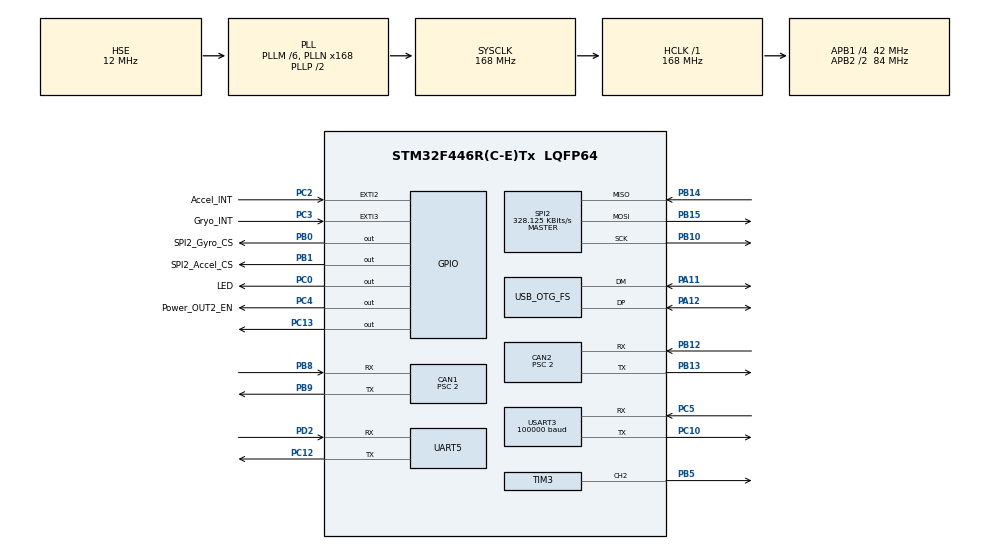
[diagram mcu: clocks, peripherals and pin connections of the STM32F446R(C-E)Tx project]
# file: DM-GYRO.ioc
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CAN1.BS1=CAN_BS1_15TQ
CAN1.BS2=CAN_BS2_5TQ
CAN1.CalculateBaudRate=1000000
CAN1.CalculateTimeBit=1000
CAN1.CalculateTimeQuantum=47.61904761904762
CAN1.Prescaler=2
CAN2.BS1=CAN_BS1_15TQ
CAN2.BS2=CAN_BS2_5TQ
CAN2.CalculateBaudRate=1000000
CAN2.CalculateTimeBit=1000
CAN2.CalculateTimeQuantum=47.61904761904762
CAN2.Prescaler=2
Dma.Request0=SPI2_RX
Dma.Request1=SPI2_TX
Dma.Request2=USART3_RX
Dma.Request3=UART5_RX
Dma.Request4=UART5_TX
Dma.SPI2_RX.0.Direction=DMA_PERIPH_TO_MEMORY
Dma.SPI2_RX.0.FIFOMode=DMA_FIFOMODE_DISABLE
Dma.SPI2_RX.0.Instance=DMA1_Stream3
Dma.SPI2_RX.0.MemDataAlignment=DMA_MDATAALIGN_BYTE
Dma.SPI2_RX.0.MemInc=DMA_MINC_ENABLE
Dma.SPI2_RX.0.Mode=DMA_NORMAL
Dma.SPI2_RX.0.PeriphDataAlignment=DMA_PDATAALIGN_BYTE
Dma.SPI2_RX.0.PeriphInc=DMA_PINC_DISABLE
Dma.SPI2_RX.0.Priority=DMA_PRIORITY_VERY_HIGH
Dma.SPI2_TX.1.Direction=DMA_MEMORY_TO_PERIPH
Dma.SPI2_TX.1.FIFOMode=DMA_FIFOMODE_DISABLE
Dma.SPI2_TX.1.Instance=DMA1_Stream4
Dma.SPI2_TX.1.MemDataAlignment=DMA_MDATAALIGN_BYTE
Dma.SPI2_TX.1.MemInc=DMA_MINC_ENABLE
Dma.SPI2_TX.1.Mode=DMA_NORMAL
Dma.SPI2_TX.1.PeriphDataAlignment=DMA_PDATAALIGN_BYTE
Dma.SPI2_TX.1.PeriphInc=DMA_PINC_DISABLE
Dma.SPI2_TX.1.Priority=DMA_PRIORITY_HIGH
Dma.UART5_RX.3.Direction=DMA_PERIPH_TO_MEMORY
Dma.UART5_RX.3.FIFOMode=DMA_FIFOMODE_DISABLE
Dma.UART5_RX.3.Instance=DMA1_Stream0
Dma.UART5_RX.3.MemDataAlignment=DMA_MDATAALIGN_BYTE
Dma.UART5_RX.3.MemInc=DMA_MINC_ENABLE
Dma.UART5_RX.3.Mode=DMA_NORMAL
Dma.UART5_RX.3.PeriphDataAlignment=DMA_PDATAALIGN_BYTE
Dma.UART5_RX.3.PeriphInc=DMA_PINC_DISABLE
Dma.UART5_RX.3.Priority=DMA_PRIORITY_VERY_HIGH
Dma.UART5_TX.4.Direction=DMA_MEMORY_TO_PERIPH
Dma.UART5_TX.4.FIFOMode=DMA_FIFOMODE_DISABLE
Dma.UART5_TX.4.Instance=DMA1_Stream7
Dma.UART5_TX.4.MemDataAlignment=DMA_MDATAALIGN_BYTE
Dma.UART5_TX.4.MemInc=DMA_MINC_ENABLE
Dma.UART5_TX.4.Mode=DMA_NORMAL
Dma.UART5_TX.4.PeriphDataAlignment=DMA_PDATAALIGN_BYTE
Dma.UART5_TX.4.PeriphInc=DMA_PINC_DISABLE
Dma.UART5_TX.4.Priority=DMA_PRIORITY_HIGH
Dma.USART3_RX.2.Direction=DMA_PERIPH_TO_MEMORY
Dma.USART3_RX.2.FIFOMode=DMA_FIFOMODE_DISABLE
Dma.USART3_RX.2.Instance=DMA1_Stream1
Dma.USART3_RX.2.MemDataAlignment=DMA_MDATAALIGN_BYTE
Dma.USART3_RX.2.MemInc=DMA_MINC_ENABLE
Dma.USART3_RX.2.Mode=DMA_NORMAL
Dma.USART3_RX.2.PeriphDataAlignment=DMA_PDATAALIGN_BYTE
Dma.USART3_RX.2.PeriphInc=DMA_PINC_DISABLE
Dma.USART3_RX.2.Priority=DMA_PRIORITY_VERY_HIGH
FREERTOS.INCLUDE_xTaskGetHandle=1
FREERTOS.Tasks01=TEMP_IMU,0,512,imu_temp_control_task,As weak,NULL,Dynamic,NULL,NULL
Mcu.Family=STM32F4
Mcu.Name=STM32F446R(C-E)Tx
Mcu.Package=LQFP64
NVIC.CAN1_RX0_IRQn=true\:5\:0\:false\:false\:true\:true\:true\:true\:true
NVIC.CAN2_RX0_IRQn=true\:5\:0\:false\:false\:true\:true\:true\:true\:true
NVIC.CAN2_RX1_IRQn=true\:5\:0\:false\:false\:true\:true\:true\:true\:true
NVIC.DMA1_Stream0_IRQn=true\:5\:0\:false\:true\:true\:2\:true\:false\:true\:true
NVIC.DMA1_Stream1_IRQn=true\:5\:0\:false\:false\:true\:true\:false\:true\:true
NVIC.DMA1_Stream3_IRQn=true\:5\:0\:false\:false\:true\:false\:false\:true\:true
NVIC.DMA1_Stream4_IRQn=true\:5\:0\:false\:false\:true\:false\:false\:true\:true
NVIC.DMA1_Stream7_IRQn=true\:5\:0\:false\:true\:true\:1\:true\:false\:true\:true
NVIC.OTG_FS_IRQn=true\:5\:0\:false\:false\:true\:false\:false\:true\:true
NVIC.PriorityGroup=NVIC_PRIORITYGROUP_4
NVIC.TIM2_IRQn=true\:15\:0\:false\:false\:true\:false\:false\:true\:true
NVIC.TimeBase=TIM2_IRQn
NVIC.TimeBaseIP=TIM2
NVIC.UART5_IRQn=true\:5\:0\:false\:true\:true\:5\:true\:true\:true\:true
NVIC.USART3_IRQn=true\:5\:0\:false\:true\:true\:4\:true\:true\:true\:true
PA11.Mode=Device_Only
PA11.Signal=USB_OTG_FS_DM
PA12.Mode=Device_Only
PA12.Signal=USB_OTG_FS_DP
PA13.Mode=Serial_Wire
PA13.Signal=SYS_JTMS-SWDIO
PA14.Mode=Serial_Wire
PA14.Signal=SYS_JTCK-SWCLK
PB0.GPIO_Label=SPI2_Gyro_CS
PB0.Signal=GPIO_Output
PB1.GPIO_Label=SPI2_Accel_CS
PB1.Signal=GPIO_Output
PB10.Mode=Full_Duplex_Master
PB10.Signal=SPI2_SCK
PB12.Mode=CAN_Activate
PB12.Signal=CAN2_RX
PB13.Mode=CAN_Activate
PB13.Signal=CAN2_TX
PB14.Mode=Full_Duplex_Master
PB14.Signal=SPI2_MISO
PB15.Mode=Full_Duplex_Master
PB15.Signal=SPI2_MOSI
PB5.GPIO_PuPd=GPIO_NOPULL
PB5.GPIO_Speed=GPIO_SPEED_FREQ_LOW
PB5.Signal=S_TIM3_CH2
PB8.Mode=CAN_Activate
PB8.Signal=CAN1_RX
PB9.Mode=CAN_Activate
PB9.Signal=CAN1_TX
PC0.GPIO_Label=LED
PC0.GPIO_ModeDefaultOutputPP=GPIO_MODE_OUTPUT_PP
PC0.GPIO_PuPd=GPIO_NOPULL
PC0.GPIO_Speed=GPIO_SPEED_FREQ_LOW
PC0.PinState=GPIO_PIN_RESET
PC0.Signal=GPIO_Output
PC10.Mode=Asynchronous
PC10.Signal=USART3_TX
PC12.Mode=Asynchronous
PC12.Signal=UART5_TX
PC13.Signal=GPIO_Output
PC2.GPIO_Label=Accel_INT
PC2.Signal=GPXTI2
PC3.GPIO_Label=Gryo_INT
PC3.GPIO_PuPd=GPIO_PULLUP
PC3.Signal=GPXTI3
PC4.GPIO_Label=Power_OUT2_EN
PC4.Signal=GPIO_Output
PC5.Mode=Asynchronous
PC5.Signal=USART3_RX
PD2.Mode=Asynchronous
PD2.Signal=UART5_RX
PH0-OSC_IN.Mode=HSE-External-Oscillator
PH0-OSC_IN.Signal=RCC_OSC_IN
PH1-OSC_OUT.Mode=HSE-External-Oscillator
PH1-OSC_OUT.Signal=RCC_OSC_OUT
ProjectManager.HeapSize=0x400
ProjectManager.StackSize=0x800
ProjectManager.TargetToolchain=MDK-ARM V5.32
RCC.AHBFreq_Value=168000000
RCC.APB1CLKDivider=RCC_HCLK_DIV4
RCC.APB1Freq_Value=42000000
RCC.APB1TimFreq_Value=84000000
RCC.APB2CLKDivider=RCC_HCLK_DIV2
RCC.APB2Freq_Value=84000000
RCC.APB2TimFreq_Value=168000000
RCC.CortexFreq_Value=168000000
RCC.HCLKFreq_Value=168000000
RCC.HSE_VALUE=12000000
RCC.PLLM=6
RCC.PLLN=168
RCC.PLLQ=7
RCC.PLLSAIM=6
RCC.PLLSAIN=96
RCC.PLLSAIP=RCC_PLLSAIP_DIV4
RCC.PLLSourceVirtual=RCC_PLLSOURCE_HSE
RCC.SYSCLKFreq_VALUE=168000000
RCC.SYSCLKSource=RCC_SYSCLKSOURCE_PLLCLK
RCC.USBFreq_Value=48000000
RCC.VCOOutputFreq_Value=336000000
SH.S_TIM3_CH2.0=TIM3_CH2,PWM Generation2 CH2
SPI2.BaudRatePrescaler=SPI_BAUDRATEPRESCALER_128
SPI2.CLKPhase=SPI_PHASE_2EDGE
SPI2.CLKPolarity=SPI_POLARITY_HIGH
SPI2.CalculateBaudRate=328.125 KBits/s
SPI2.Direction=SPI_DIRECTION_2LINES
SPI2.Mode=SPI_MODE_MASTER
SPI2.VirtualType=VM_MASTER
STMicroelectronics.X-CUBE-ALGOBUILD.1.3.0.LibraryCcDSPOoLibraryJjDSPOoLibrary=true
TIM3.Channel-PWM\ Generation2\ CH2=TIM_CHANNEL_2
TIM3.Period=4999
UART5.VirtualMode=Asynchronous
USART3.BaudRate=100000
USART3.VirtualMode=VM_ASYNC
USB_DEVICE.CLASS_NAME_FS=CDC
USB_DEVICE.VirtualMode-CDC_FS=Cdc
USB_DEVICE.VirtualModeFS=Cdc_FS
USB_OTG_FS.VirtualMode=Device_Only
VP_FREERTOS_VS_CMSIS_V1.Mode=CMSIS_V1
VP_STMicroelectronics.X-CUBE-ALGOBUILD_VS_DSPOoLibraryJjLibrary_1.3.0_1.3.0.Mode=DSPOoLibraryJjLibrary
VP_SYS_VS_tim2.Mode=TIM2
VP_USB_DEVICE_VS_USB_DEVICE_CDC_FS.Mode=CDC_FS
board=custom

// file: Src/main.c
/* USER CODE BEGIN Header */
/**
  ******************************************************************************
  * @file           : main.c
  * @brief          : Main program body
  ******************************************************************************
  * @attention
  *
  * Copyright (c) 2024 STMicroelectronics.
  * All rights reserved.
  *
  * This software is licensed under terms that can be found in the LICENSE file
  * in the root directory of this software component.
  * If no LICENSE file comes with this software, it is provided AS-IS.
  *
  ******************************************************************************
  */
/* USER CODE END Header */
#include "main.h"
#include "cmsis_os.h"
#include "can.h"
#include "dma.h"
#include "spi.h"
#include "tim.h"
#include "usart.h"
#include "usb_device.h"
#include "gpio.h"

/* USER CODE BEGIN Includes */
#include "bsp_dwt.h"
#include "drv_can.h"
#include "drv_usart.h"

/* USER CODE END Includes */

void SystemClock_Config(void);
void MX_FREERTOS_Init(void);
static void MX_NVIC_Init(void);

int main(void)
{

  /* MCU Configuration--------------------------------------------------------*/

  /* Reset of all peripherals, Initializes the Flash interface and the Systick. */
  HAL_Init();

  /* Configure the system clock */
  SystemClock_Config();

  /* Initialize all configured peripherals */
  MX_GPIO_Init();
  MX_DMA_Init();
  MX_SPI2_Init();
  MX_TIM3_Init();
  MX_CAN1_Init();
  MX_CAN2_Init();
  MX_USART3_UART_Init();
  MX_UART5_Init();

  /* Initialize interrupts */
  MX_NVIC_Init();
  /* USER CODE BEGIN 2 */
      UART5_Init();
      USART3_Init();
    CAN1_Init();
    CAN2_Init();
    HAL_TIM_PWM_Start(&htim3,TIM_CHANNEL_1);//ä˝żč˝TIM3ĺŽćśĺ¨PWMčžĺş
  DWT_Init(168);
      while(BMI088_init())
    {
        ;
    }
  /* USER CODE END 2 */

  /* Call init function for freertos objects (in cmsis_os2.c) */
  MX_FREERTOS_Init();

  /* Start scheduler */
  osKernelStart();

  /* We should never get here as control is now taken by the scheduler */

  /* Infinite loop */
  while (1)
  {

  }
}

void SystemClock_Config(void)
{
  RCC_OscInitTypeDef RCC_OscInitStruct = {0};
  RCC_ClkInitTypeDef RCC_ClkInitStruct = {0};

  /** Configure the main internal regulator output voltage
  */
  __HAL_RCC_PWR_CLK_ENABLE();
  __HAL_PWR_VOLTAGESCALING_CONFIG(PWR_REGULATOR_VOLTAGE_SCALE1);

  /** Initializes the RCC Oscillators according to the specified parameters
  * in the RCC_OscInitTypeDef structure.
  */
  RCC_OscInitStruct.OscillatorType = RCC_OSCILLATORTYPE_HSE;
  RCC_OscInitStruct.HSEState = RCC_HSE_ON;
  RCC_OscInitStruct.PLL.PLLState = RCC_PLL_ON;
  RCC_OscInitStruct.PLL.PLLSource = RCC_PLLSOURCE_HSE;
  RCC_OscInitStruct.PLL.PLLM = 6;
  RCC_OscInitStruct.PLL.PLLN = 168;
  RCC_OscInitStruct.PLL.PLLP = RCC_PLLP_DIV2;
  RCC_OscInitStruct.PLL.PLLQ = 7;
  RCC_OscInitStruct.PLL.PLLR = 2;
  if (HAL_RCC_OscConfig(&RCC_OscInitStruct) != HAL_OK)
  {
    Error_Handler();
  }

  /** Initializes the CPU, AHB and APB buses clocks
  */
  RCC_ClkInitStruct.ClockType = RCC_CLOCKTYPE_HCLK|RCC_CLOCKTYPE_SYSCLK
                              |RCC_CLOCKTYPE_PCLK1|RCC_CLOCKTYPE_PCLK2;
  RCC_ClkInitStruct.SYSCLKSource = RCC_SYSCLKSOURCE_PLLCLK;
  RCC_ClkInitStruct.AHBCLKDivider = RCC_SYSCLK_DIV1;
  RCC_ClkInitStruct.APB1CLKDivider = RCC_HCLK_DIV4;
  RCC_ClkInitStruct.APB2CLKDivider = RCC_HCLK_DIV2;

  if (HAL_RCC_ClockConfig(&RCC_ClkInitStruct, FLASH_LATENCY_5) != HAL_OK)
  {
    Error_Handler();
  }
}

/**
  * @brief NVIC Configuration.
  * @retval None
  */
static void MX_NVIC_Init(void)
{
  /* DMA1_Stream7_IRQn interrupt configuration */
  HAL_NVIC_SetPriority(DMA1_Stream7_IRQn, 5, 0);
  HAL_NVIC_EnableIRQ(DMA1_Stream7_IRQn);
  /* DMA1_Stream0_IRQn interrupt configuration */
  HAL_NVIC_SetPriority(DMA1_Stream0_IRQn, 5, 0);
  HAL_NVIC_EnableIRQ(DMA1_Stream0_IRQn);
  /* USART3_IRQn interrupt configuration */
  HAL_NVIC_SetPriority(USART3_IRQn, 5, 0);
  HAL_NVIC_EnableIRQ(USART3_IRQn);
  /* UART5_IRQn interrupt configuration */
  HAL_NVIC_SetPriority(UART5_IRQn, 5, 0);
  HAL_NVIC_EnableIRQ(UART5_IRQn);
}

void HAL_TIM_PeriodElapsedCallback(TIM_HandleTypeDef *htim)
{
  if (htim->Instance == TIM2) {
    HAL_IncTick();
  }
}

void Error_Handler(void)
{
  __disable_irq();
  while (1)
  {
  }
}

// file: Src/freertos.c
/* USER CODE BEGIN Header */
/**
  ******************************************************************************
  * File Name          : freertos.c
  * Description        : Code for freertos applications
  ******************************************************************************
  * @attention
  *
  * Copyright (c) 2024 STMicroelectronics.
  * All rights reserved.
  *
  * This software is licensed under terms that can be found in the LICENSE file
  * in the root directory of this software component.
  * If no LICENSE file comes with this software, it is provided AS-IS.
  *
  ******************************************************************************
  */
/* USER CODE END Header */

#include "FreeRTOS.h"
#include "task.h"
#include "main.h"
#include "cmsis_os.h"

/* USER CODE BEGIN Includes */
#include "Chassis_task.h"
#include "rc_potocal.h"
#include "stm32f4xx_it.h"
#include "UI_task.h"
/* USER CODE END Includes */

/* USER CODE BEGIN Variables */
osThreadId Chassis_taskHandle;
osThreadId UI_taskHandle;

/* USER CODE END Variables */
osThreadId TEMP_IMUHandle;

/* USER CODE BEGIN FunctionPrototypes */
osThreadId LEDHandle;
void led_task(void const * argument);
void StartUITASK(void const * argument);
/* USER CODE END FunctionPrototypes */

void imu_temp_control_task(void const * argument);

extern void MX_USB_DEVICE_Init(void);
void MX_FREERTOS_Init(void); /* (MISRA C 2004 rule 8.1) */

/* GetIdleTaskMemory prototype (linked to static allocation support) */
void vApplicationGetIdleTaskMemory( StaticTask_t **ppxIdleTaskTCBBuffer, StackType_t **ppxIdleTaskStackBuffer, uint32_t *pulIdleTaskStackSize );

/* USER CODE BEGIN GET_IDLE_TASK_MEMORY */
static StaticTask_t xIdleTaskTCBBuffer;
static StackType_t xIdleStack[configMINIMAL_STACK_SIZE];

void vApplicationGetIdleTaskMemory( StaticTask_t **ppxIdleTaskTCBBuffer, StackType_t **ppxIdleTaskStackBuffer, uint32_t *pulIdleTaskStackSize )
{
  *ppxIdleTaskTCBBuffer = &xIdleTaskTCBBuffer;
  *ppxIdleTaskStackBuffer = &xIdleStack[0];
  *pulIdleTaskStackSize = configMINIMAL_STACK_SIZE;
  /* place for user code */
}
/* USER CODE END GET_IDLE_TASK_MEMORY */

void MX_FREERTOS_Init(void) {

  /* Create the thread(s) */
  /* definition and creation of TEMP_IMU */
  osThreadDef(TEMP_IMU, imu_temp_control_task, osPriorityNormal, 0, 512);
  TEMP_IMUHandle = osThreadCreate(osThread(TEMP_IMU), NULL);

  /* USER CODE BEGIN RTOS_THREADS */
  /* add threads, ... */
       osThreadDef(Chassistask, Chassis_task, osPriorityRealtime, 0, 512); // �����ƶ�����
  Chassis_taskHandle = osThreadCreate(osThread(Chassistask), NULL);

	osThreadDef(LED, led_task, osPriorityNormal, 0, 128);
 LEDHandle      = osThreadCreate(osThread(LED), NULL);

   osThreadDef(UItask,StartUITASK , osPriorityRealtime, 0, 1024);
  UI_taskHandle = osThreadCreate(osThread(UItask), NULL);
  /* USER CODE END RTOS_THREADS */

}

__weak void imu_temp_control_task(void const * argument)
{
  /* init code for USB_DEVICE */
  MX_USB_DEVICE_Init();
  for(;;)
  {
    osDelay(1);
  }
}

/* USER CODE BEGIN Application */
void StartUITASK(void const * argument)
{
  /* USER CODE BEGIN StartUITASK */
  /* Infinite loop */
  for(;;)
  {
    osDelay(1);
  }
  /* USER CODE END StartUITASK */
}
/* USER CODE END Application */
